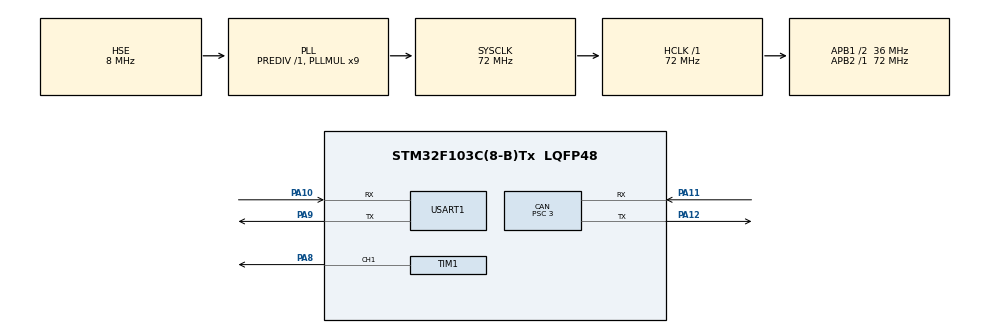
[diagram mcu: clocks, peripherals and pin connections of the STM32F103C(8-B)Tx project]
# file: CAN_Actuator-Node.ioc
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CAN.BS1=CAN_BS1_12TQ
CAN.BS2=CAN_BS2_2TQ
CAN.CalculateTimeBit=1250
CAN.CalculateTimeQuantum=83.33333333333334
CAN.NART=ENABLE
CAN.Prescaler=3
Mcu.Family=STM32F1
Mcu.Name=STM32F103C(8-B)Tx
Mcu.Package=LQFP48
NVIC.PriorityGroup=NVIC_PRIORITYGROUP_4
PA10.Mode=Asynchronous
PA10.Signal=USART1_RX
PA11.Mode=Master
PA11.Signal=CAN_RX
PA12.Mode=Master
PA12.Signal=CAN_TX
PA13.Mode=Serial_Wire
PA13.Signal=SYS_JTMS-SWDIO
PA14.Mode=Serial_Wire
PA14.Signal=SYS_JTCK-SWCLK
PA8.Signal=S_TIM1_CH1
PA9.Mode=Asynchronous
PA9.Signal=USART1_TX
PD0-OSC_IN.Mode=HSE-External-Oscillator
PD0-OSC_IN.Signal=RCC_OSC_IN
PD1-OSC_OUT.Mode=HSE-External-Oscillator
PD1-OSC_OUT.Signal=RCC_OSC_OUT
ProjectManager.HeapSize=0x200
ProjectManager.StackSize=0x400
ProjectManager.TargetToolchain=MDK-ARM V5.27
RCC.AHBFreq_Value=72000000
RCC.APB1CLKDivider=RCC_HCLK_DIV2
RCC.APB1Freq_Value=36000000
RCC.APB1TimFreq_Value=72000000
RCC.APB2Freq_Value=72000000
RCC.APB2TimFreq_Value=72000000
RCC.HCLKFreq_Value=72000000
RCC.PLLMUL=RCC_PLL_MUL9
RCC.PLLSourceVirtual=RCC_PLLSOURCE_HSE
RCC.SYSCLKFreq_VALUE=72000000
RCC.SYSCLKSource=RCC_SYSCLKSOURCE_PLLCLK
RCC.USBFreq_Value=72000000
SH.S_TIM1_CH1.0=TIM1_CH1,PWM Generation1 CH1
TIM1.AutoReloadPreload=TIM_AUTORELOAD_PRELOAD_ENABLE
TIM1.Channel-PWM\ Generation1\ CH1=TIM_CHANNEL_1
TIM1.Period=199
TIM1.Prescaler=7199
USART1.VirtualMode=VM_ASYNC
board=custom

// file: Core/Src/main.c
/* USER CODE BEGIN Header */
/**
  ******************************************************************************
  * @file           : main.c
  * @brief          : Main program body
  ******************************************************************************
  * @attention
  *
  * <h2><center>&copy; Copyright (c) 2025 STMicroelectronics.
  * All rights reserved.</center></h2>
  *
  * This software component is licensed by ST under BSD 3-Clause license,
  * the "License"; You may not use this file except in compliance with the
  * License. You may obtain a copy of the License at:
  *                        opensource.org/licenses/BSD-3-Clause
  *
  ******************************************************************************
  */
/* USER CODE END Header */
#include "main.h"

/* USER CODE BEGIN Includes */

#include "stm32f1xx_hal.h"
#include <stdio.h>
#include <string.h>

/* USER CODE END Includes */

CAN_HandleTypeDef hcan;

TIM_HandleTypeDef htim1;

UART_HandleTypeDef huart1;

/* USER CODE BEGIN PV */

CAN_RxHeaderTypeDef RxHeader;
uint8_t RxData[8];

/* USER CODE END PV */

void SystemClock_Config(void);
static void MX_GPIO_Init(void);
static void MX_CAN_Init(void);
static void MX_TIM1_Init(void);
static void MX_USART1_UART_Init(void);

/* USER CODE BEGIN 0 */

/*
* Function to convert the received value (assuming it is 16-bit) to angle.
* Here, the received value may already be in the range 0 - 180,
* so the conversion function is for illustration purposes only.
*/
float ADC_To_Angle(uint16_t value) {
    // If the received data is the direct value of the angle (0-180)
    return (float)value;
}

/*
* Function to adjust servo via PWM.
* Parameters:
* - htim: pointer to TIM handler (here use TIM1).
* - Channel: PWM channel (eg TIM_CHANNEL_1).
* - angle: angle of control lever (0-180 degrees).
* - servo_type: servo type (1: standard servo; 2: continuous servo)
*/
void Servo_SetAngle(TIM_HandleTypeDef *htim, uint32_t Channel, float angle, uint8_t servo_type) {
    uint32_t pulse = 0;

    if (servo_type == 1) { // standard servo (SG92R, MG90S 180)
        // PWM pulse calculation: from 5 to 25 (corresponding to about 0.5ms - 2.5ms)
        pulse = (uint32_t)(5 + (angle / 180.0f) * 20);
    } else if (servo_type == 2) { // continuous servo (MG90S 360)
        if (angle == 90) {
					// Stop state: 1.5ms
					pulse = 15;
        } else if (angle < 90) {
					// Clockwise rotation (speed increases as angle decreases): Decreases from 1.5ms to 0.5ms
					pulse = (uint32_t)(15 - ((90 - angle) / 90.0f) * 10);
        } else {
					// Counterclockwise rotation (speed increases with increasing angle): Increase from 1.5ms to 2.5ms
					pulse = (uint32_t)(15 + ((angle - 90) / 90.0f) * 10);
        }
    }

    // Make sure pulse is within valid range (5 to 25)
    if (pulse < 5) pulse = 5;
    if (pulse > 25) pulse = 25;

    // Update PWM value
    __HAL_TIM_SET_COMPARE(htim, Channel, pulse);
}

/*
* Callback is called when there is a new CAN message in FIFO0.
* In this function, check the message ID and extract the angle value from the first 2 bytes.
*/
void HAL_CAN_RxFifo0MsgPendingCallback(CAN_HandleTypeDef *hcan) {
    if (HAL_CAN_GetRxMessage(hcan, CAN_RX_FIFO0, &RxHeader, RxData) == HAL_OK) {
        // Suppose message with ID 0x002 contains angle data from Sensor Node
        if (RxHeader.StdId == 0x002) {
            // Concatenate the first 2 bytes into a 16-bit value
            uint16_t angle_val = (RxData[0] << 8) | RxData[1];
            // Here, we assume the data received directly is angle (0-180)
            float angle = ADC_To_Angle(angle_val);

            // Servo control (e.g. standard servo control on TIM1 Channel 1)
            Servo_SetAngle(&htim1, TIM_CHANNEL_1, angle, 1);

            // G?i thТng bАo qua UART d? debug
            char msg[64];
            sprintf(msg, "Received angle: %d\r\n", angle_val);
            HAL_UART_Transmit(&huart1, (uint8_t*)msg, strlen(msg), HAL_MAX_DELAY);
        }
    }
}

// Configure CAN filter for Actuator Node
static void CAN_FilterConfig_Actuator(void)
{
    CAN_FilterTypeDef sFilterConfig;

    sFilterConfig.FilterBank = 0;
    sFilterConfig.FilterMode = CAN_FILTERMODE_IDMASK;
    sFilterConfig.FilterScale = CAN_FILTERSCALE_32BIT;

    /* With Standard ID, we need to shift the ID 5 bits to the left */
    sFilterConfig.FilterIdHigh = (0x002 << 5);  // 0x002 << 5 --> value is stored in the upper 11 bits
    sFilterConfig.FilterIdLow = 0x0000;

    /* Mask: set mask for 11 bits (0x7FF << 5) to only accept messages with exact ID */
    sFilterConfig.FilterMaskIdHigh = (0x7FF << 5);
    sFilterConfig.FilterMaskIdLow = 0x0000;

    sFilterConfig.FilterFIFOAssignment = CAN_RX_FIFO0;
    sFilterConfig.FilterActivation = ENABLE;
    sFilterConfig.SlaveStartFilterBank = 14;

    if (HAL_CAN_ConfigFilter(&hcan, &sFilterConfig) != HAL_OK)
    {
         /* Handle error if filter is not configured successfully */
         Error_Handler();
    }
}

/* USER CODE END 0 */

int main(void)
{

  /* MCU Configuration--------------------------------------------------------*/

  /* Reset of all peripherals, Initializes the Flash interface and the Systick. */
  HAL_Init();

  /* Configure the system clock */
  SystemClock_Config();

  /* Initialize all configured peripherals */
  MX_GPIO_Init();
  MX_CAN_Init();
  MX_TIM1_Init();
  MX_USART1_UART_Init();
  /* USER CODE BEGIN 2 */

	/* Configure CAN filter for Actuator Node (only accepts ID 0x002) */
	CAN_FilterConfig_Actuator();

	/*
	* CAN Start:
	* - Start CAN
	* - Enable notification when there is a new message in FIFO 0
	*/
	if (HAL_CAN_Start(&hcan) != HAL_OK) {
		char errorMsg[] = "CAN start error\r\n";
		HAL_UART_Transmit(&huart1, (uint8_t*)errorMsg, strlen(errorMsg), HAL_MAX_DELAY);
		Error_Handler();
	}
	if (HAL_CAN_ActivateNotification(&hcan, CAN_IT_RX_FIFO0_MSG_PENDING) != HAL_OK) {
		char errorMsg[] = "CAN notification error\r\n";
		HAL_UART_Transmit(&huart1, (uint8_t*)errorMsg, strlen(errorMsg), HAL_MAX_DELAY);
		Error_Handler();
	}

	/* Start PWM on TIM1 Channel 1 to control servo */
	if (HAL_TIM_PWM_Start(&htim1, TIM_CHANNEL_1) != HAL_OK) {
		char errorMsg[] = "PWM start error\r\n";
		HAL_UART_Transmit(&huart1, (uint8_t*)errorMsg, strlen(errorMsg), HAL_MAX_DELAY);
		Error_Handler();
	}

  /* USER CODE END 2 */

  /* Infinite loop */
  while (1)
  {

    /* USER CODE BEGIN 3 */

		// In Actuator Node, jobs are handled via interrupt callbacks (CAN Rx)
  }
  /* USER CODE END 3 */
}

void SystemClock_Config(void)
{
  RCC_OscInitTypeDef RCC_OscInitStruct = {0};
  RCC_ClkInitTypeDef RCC_ClkInitStruct = {0};

  /** Initializes the RCC Oscillators according to the specified parameters
  * in the RCC_OscInitTypeDef structure.
  */
  RCC_OscInitStruct.OscillatorType = RCC_OSCILLATORTYPE_HSE;
  RCC_OscInitStruct.HSEState = RCC_HSE_ON;
  RCC_OscInitStruct.HSEPredivValue = RCC_HSE_PREDIV_DIV1;
  RCC_OscInitStruct.HSIState = RCC_HSI_ON;
  RCC_OscInitStruct.PLL.PLLState = RCC_PLL_ON;
  RCC_OscInitStruct.PLL.PLLSource = RCC_PLLSOURCE_HSE;
  RCC_OscInitStruct.PLL.PLLMUL = RCC_PLL_MUL9;
  if (HAL_RCC_OscConfig(&RCC_OscInitStruct) != HAL_OK)
  {
    Error_Handler();
  }
  /** Initializes the CPU, AHB and APB buses clocks
  */
  RCC_ClkInitStruct.ClockType = RCC_CLOCKTYPE_HCLK|RCC_CLOCKTYPE_SYSCLK
                              |RCC_CLOCKTYPE_PCLK1|RCC_CLOCKTYPE_PCLK2;
  RCC_ClkInitStruct.SYSCLKSource = RCC_SYSCLKSOURCE_PLLCLK;
  RCC_ClkInitStruct.AHBCLKDivider = RCC_SYSCLK_DIV1;
  RCC_ClkInitStruct.APB1CLKDivider = RCC_HCLK_DIV2;
  RCC_ClkInitStruct.APB2CLKDivider = RCC_HCLK_DIV1;

  if (HAL_RCC_ClockConfig(&RCC_ClkInitStruct, FLASH_LATENCY_2) != HAL_OK)
  {
    Error_Handler();
  }
}

static void MX_CAN_Init(void)
{

  hcan.Instance = CAN1;
  hcan.Init.Prescaler = 3;
  hcan.Init.Mode = CAN_MODE_NORMAL;
  hcan.Init.SyncJumpWidth = CAN_SJW_1TQ;
  hcan.Init.TimeSeg1 = CAN_BS1_12TQ;
  hcan.Init.TimeSeg2 = CAN_BS2_2TQ;
  hcan.Init.TimeTriggeredMode = DISABLE;
  hcan.Init.AutoBusOff = DISABLE;
  hcan.Init.AutoWakeUp = DISABLE;
  hcan.Init.AutoRetransmission = ENABLE;
  hcan.Init.ReceiveFifoLocked = DISABLE;
  hcan.Init.TransmitFifoPriority = DISABLE;
  if (HAL_CAN_Init(&hcan) != HAL_OK)
  {
    Error_Handler();
  }

}

static void MX_TIM1_Init(void)
{

  TIM_MasterConfigTypeDef sMasterConfig = {0};
  TIM_OC_InitTypeDef sConfigOC = {0};
  TIM_BreakDeadTimeConfigTypeDef sBreakDeadTimeConfig = {0};

  htim1.Instance = TIM1;
  htim1.Init.Prescaler = 7199;
  htim1.Init.CounterMode = TIM_COUNTERMODE_UP;
  htim1.Init.Period = 199;
  htim1.Init.ClockDivision = TIM_CLOCKDIVISION_DIV1;
  htim1.Init.RepetitionCounter = 0;
  htim1.Init.AutoReloadPreload = TIM_AUTORELOAD_PRELOAD_ENABLE;
  if (HAL_TIM_PWM_Init(&htim1) != HAL_OK)
  {
    Error_Handler();
  }
  sMasterConfig.MasterOutputTrigger = TIM_TRGO_RESET;
  sMasterConfig.MasterSlaveMode = TIM_MASTERSLAVEMODE_DISABLE;
  if (HAL_TIMEx_MasterConfigSynchronization(&htim1, &sMasterConfig) != HAL_OK)
  {
    Error_Handler();
  }
  sConfigOC.OCMode = TIM_OCMODE_PWM1;
  sConfigOC.Pulse = 0;
  sConfigOC.OCPolarity = TIM_OCPOLARITY_HIGH;
  sConfigOC.OCNPolarity = TIM_OCNPOLARITY_HIGH;
  sConfigOC.OCFastMode = TIM_OCFAST_DISABLE;
  sConfigOC.OCIdleState = TIM_OCIDLESTATE_RESET;
  sConfigOC.OCNIdleState = TIM_OCNIDLESTATE_RESET;
  if (HAL_TIM_PWM_ConfigChannel(&htim1, &sConfigOC, TIM_CHANNEL_1) != HAL_OK)
  {
    Error_Handler();
  }
  sBreakDeadTimeConfig.OffStateRunMode = TIM_OSSR_DISABLE;
  sBreakDeadTimeConfig.OffStateIDLEMode = TIM_OSSI_DISABLE;
  sBreakDeadTimeConfig.LockLevel = TIM_LOCKLEVEL_OFF;
  sBreakDeadTimeConfig.DeadTime = 0;
  sBreakDeadTimeConfig.BreakState = TIM_BREAK_DISABLE;
  sBreakDeadTimeConfig.BreakPolarity = TIM_BREAKPOLARITY_HIGH;
  sBreakDeadTimeConfig.AutomaticOutput = TIM_AUTOMATICOUTPUT_DISABLE;
  if (HAL_TIMEx_ConfigBreakDeadTime(&htim1, &sBreakDeadTimeConfig) != HAL_OK)
  {
    Error_Handler();
  }
  HAL_TIM_MspPostInit(&htim1);

}

static void MX_USART1_UART_Init(void)
{

  huart1.Instance = USART1;
  huart1.Init.BaudRate = 115200;
  huart1.Init.WordLength = UART_WORDLENGTH_8B;
  huart1.Init.StopBits = UART_STOPBITS_1;
  huart1.Init.Parity = UART_PARITY_NONE;
  huart1.Init.Mode = UART_MODE_TX_RX;
  huart1.Init.HwFlowCtl = UART_HWCONTROL_NONE;
  huart1.Init.OverSampling = UART_OVERSAMPLING_16;
  if (HAL_UART_Init(&huart1) != HAL_OK)
  {
    Error_Handler();
  }

}

static void MX_GPIO_Init(void)
{

  /* GPIO Ports Clock Enable */
  __HAL_RCC_GPIOD_CLK_ENABLE();
  __HAL_RCC_GPIOA_CLK_ENABLE();

}

void Error_Handler(void)
{
}

/************************ (C) COPYRIGHT STMicroelectronics *****END OF FILE****/
